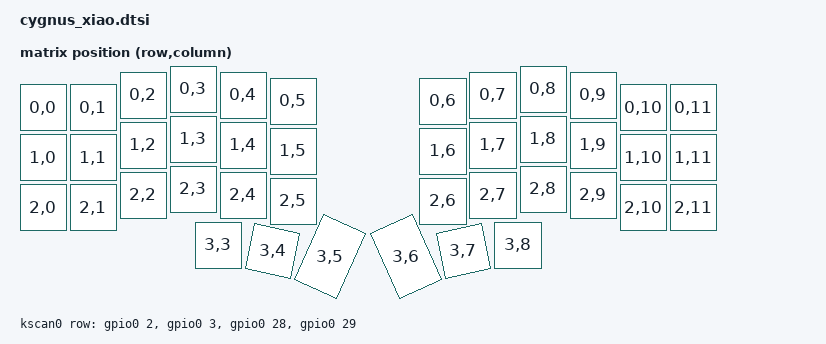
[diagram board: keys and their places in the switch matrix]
/*
 * Copyright (c) 2024 The ZMK Contributors
 *
 * SPDX-License-Identifier: MIT
 */

#include <dt-bindings/zmk/matrix_transform.h>
#include <physical_layouts.dtsi>

/ {
    chosen {
        zmk,kscan = &kscan0;
        zmk,physical-layout = &cygnus_xiao_layout;
    };

    /*
     * Physical key positions, reused verbatim from the upstream corne
     * shield's 6-column layout (layouts/foostan/corne/6column.dtsi) -
     * Cygnus 3x6 is the same physical shape/stagger. Required for ZMK
     * Studio (CONFIG_ZMK_STUDIO) to build.
     */
    cygnus_xiao_layout: cygnus_xiao_layout {
        compatible = "zmk,physical-layout";
        display-name = "Cygnus 3x6";
        transform = <&default_transform>;

        keys  //                     w   h    x    y     rot    rx    ry
            = <&key_physical_attrs 100 100    0   37       0     0     0>
            , <&key_physical_attrs 100 100  100   37       0     0     0>
            , <&key_physical_attrs 100 100  200   12       0     0     0>
            , <&key_physical_attrs 100 100  300    0       0     0     0>
            , <&key_physical_attrs 100 100  400   12       0     0     0>
            , <&key_physical_attrs 100 100  500   24       0     0     0>
            , <&key_physical_attrs 100 100  800   24       0     0     0>
            , <&key_physical_attrs 100 100  900   12       0     0     0>
            , <&key_physical_attrs 100 100 1000    0       0     0     0>
            , <&key_physical_attrs 100 100 1100   12       0     0     0>
            , <&key_physical_attrs 100 100 1200   37       0     0     0>
            , <&key_physical_attrs 100 100 1300   37       0     0     0>
            , <&key_physical_attrs 100 100    0  137       0     0     0>
            , <&key_physical_attrs 100 100  100  137       0     0     0>
            , <&key_physical_attrs 100 100  200  112       0     0     0>
            , <&key_physical_attrs 100 100  300  100       0     0     0>
            , <&key_physical_attrs 100 100  400  112       0     0     0>
            , <&key_physical_attrs 100 100  500  124       0     0     0>
            , <&key_physical_attrs 100 100  800  124       0     0     0>
            , <&key_physical_attrs 100 100  900  112       0     0     0>
            , <&key_physical_attrs 100 100 1000  100       0     0     0>
            , <&key_physical_attrs 100 100 1100  112       0     0     0>
            , <&key_physical_attrs 100 100 1200  137       0     0     0>
            , <&key_physical_attrs 100 100 1300  137       0     0     0>
            , <&key_physical_attrs 100 100    0  237       0     0     0>
            , <&key_physical_attrs 100 100  100  237       0     0     0>
            , <&key_physical_attrs 100 100  200  212       0     0     0>
            , <&key_physical_attrs 100 100  300  200       0     0     0>
            , <&key_physical_attrs 100 100  400  212       0     0     0>
            , <&key_physical_attrs 100 100  500  224       0     0     0>
            , <&key_physical_attrs 100 100  800  224       0     0     0>
            , <&key_physical_attrs 100 100  900  212       0     0     0>
            , <&key_physical_attrs 100 100 1000  200       0     0     0>
            , <&key_physical_attrs 100 100 1100  212       0     0     0>
            , <&key_physical_attrs 100 100 1200  237       0     0     0>
            , <&key_physical_attrs 100 100 1300  237       0     0     0>
            , <&key_physical_attrs 100 100  350  312       0     0     0>
            , <&key_physical_attrs 100 100  450  312    1200   450   412>
            , <&key_physical_attrs 100 150  548  283    2400   548   433>
            , <&key_physical_attrs 100 150  752  283  (-2400)  852   433>
            , <&key_physical_attrs 100 100  850  312  (-1200)  950   412>
            , <&key_physical_attrs 100 100  950  312       0     0     0>
        ;
    };

    /*
     * Cygnus 3x6 - same physical layout / position numbering as the
     * upstream ZMK "corne" shield (4 rows x 12 cols, thumb keys on
     * row 3), so the existing keymap (combos, position numbers, etc.)
     * keeps working unchanged.
     */
    default_transform: keymap_transform_0 {
        compatible = "zmk,matrix-transform";
        columns = <12>;
        rows = <4>;
// | SW1  | SW2  | SW3  | SW4  | SW5  | SW6  |   | SW6  | SW5  | SW4  | SW3  | SW2  | SW1  |
// | SW7  | SW8  | SW9  | SW10 | SW11 | SW12 |   | SW12 | SW11 | SW10 | SW9  | SW8  | SW7  |
// | SW13 | SW14 | SW15 | SW16 | SW17 | SW18 |   | SW18 | SW17 | SW16 | SW15 | SW14 | SW13 |
//                      | SW19 | SW20 | SW21 |   | SW21 | SW20 | SW19 |
        map = <
RC(0,0) RC(0,1) RC(0,2) RC(0,3) RC(0,4) RC(0,5)  RC(0,6) RC(0,7) RC(0,8) RC(0,9) RC(0,10) RC(0,11)
RC(1,0) RC(1,1) RC(1,2) RC(1,3) RC(1,4) RC(1,5)  RC(1,6) RC(1,7) RC(1,8) RC(1,9) RC(1,10) RC(1,11)
RC(2,0) RC(2,1) RC(2,2) RC(2,3) RC(2,4) RC(2,5)  RC(2,6) RC(2,7) RC(2,8) RC(2,9) RC(2,10) RC(2,11)
                        RC(3,3) RC(3,4) RC(3,5)  RC(3,6) RC(3,7) RC(3,8)
        >;
    };

    /*
     * row-gpios are shared between both halves (rows aren't mirrored
     * left/right, only columns are). col-gpios are set per-side in
     * cygnus_xiao_left.overlay / cygnus_xiao_right.overlay.
     *
     * XIAO BLE pin -> nRF52840 GPIO:
     *   D6 = P1.11, D7 = P1.12, D8 = P1.13, D9 = P1.14
     */
    kscan0: kscan {
        compatible = "zmk,kscan-gpio-matrix";
        wakeup-source;

        diode-direction = "col2row";
        row-gpios
            = <&gpio0 2  (GPIO_ACTIVE_HIGH | GPIO_PULL_DOWN)>   // D0 - Row0
            , <&gpio0 3  (GPIO_ACTIVE_HIGH | GPIO_PULL_DOWN)>   // D1 - Row1
            , <&gpio0 28 (GPIO_ACTIVE_HIGH | GPIO_PULL_DOWN)>   // D2 - Row2
            , <&gpio0 29 (GPIO_ACTIVE_HIGH | GPIO_PULL_DOWN)>   // D3 - Row3 / Thumb
            ;
    };
};
